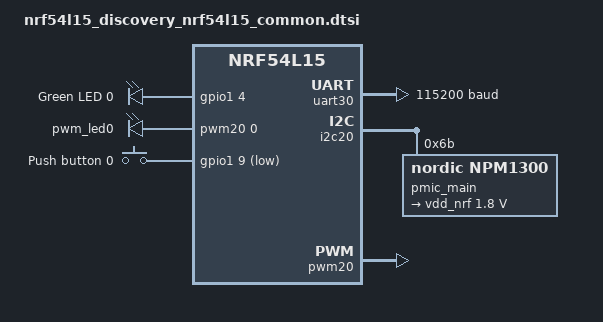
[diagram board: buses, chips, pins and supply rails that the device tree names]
/*
 * Copyright (c) 2026 Icy Electronics
 *
 * SPDX-License-Identifier: Apache-2.0
 */

#include "nrf54l15_discovery_nrf54l15-pinctrl.dtsi"
#include <zephyr/dt-bindings/regulator/npm13xx.h>

/ {
	leds {
		compatible = "gpio-leds";
		led0: led_0 {
			gpios = <&gpio1 4 GPIO_ACTIVE_HIGH>;
			label = "Green LED 0";
		};
	};

	pwmleds {
		compatible = "pwm-leds";

		/*
		 * PWM signal can be exposed on GPIO pin only within same domain.
		 * There is only one domain which contains both PWM and GPIO:
		 * PWM20/21/22 and GPIO Port P1.
		 */
		pwm_led0: pwm_led_0 {
			pwms = <&pwm20 0 PWM_MSEC(20) PWM_POLARITY_NORMAL>;
		};
	};

	buttons {
		compatible = "gpio-keys";
		button0: button_0 {
			gpios = <&gpio1 9 (GPIO_PULL_UP | GPIO_ACTIVE_LOW)>;
			label = "Push button 0";
			zephyr,code = <INPUT_KEY_0>;
		};
	};

	aliases {
		led0 = &led0;
		pwm-led0 = &pwm_led0;
		sw0 = &button0;
		watchdog0 = &wdt31;
		i2c-controller = &i2c20;
		battery = &npm1300_charger;
	};
};

&uart30 {
	current-speed = <115200>;
	pinctrl-0 = <&uart30_default>;
	pinctrl-1 = <&uart30_sleep>;
	pinctrl-names = "default", "sleep";
};

&i2c20 {
	pinctrl-0 = <&i2c20_default>;
	pinctrl-1 = <&i2c20_sleep>;
	pinctrl-names = "default", "sleep";
	zephyr,concat-buf-size = <256>;
	status = "okay";

	pmic_main: npm1300@6b {
		compatible = "nordic,npm1300";
		status = "okay";
		reg = <0x6b>;

		regulators {
			compatible = "nordic,npm1300-regulator";
			status = "okay";

			vdd_nrf: BUCK1 {
				regulator-min-microvolt = <1800000>;
				regulator-max-microvolt = <1800000>;
				regulator-always-on;
			};

			ldo2_3v3: LDO2 {
				regulator-initial-mode = <NPM13XX_LDSW_MODE_LDO>;
				regulator-allowed-modes = <NPM13XX_LDSW_MODE_LDO>;
				regulator-init-microvolt = <3300000>;
				regulator-boot-on;
			};
		};

		npm1300_charger: charger {
			compatible = "nordic,npm1300-charger";
			status = "okay";
			vbus-limit-microamp = <500000>;
			term-microvolt = <4150000>;
			current-microamp = <150000>;
			dischg-limit-microamp = <1000000>;
			term-warm-microvolt = <4000000>;
			thermistor-ohms = <10000>;
			thermistor-beta = <3380>;
			charging-enable;
		};
	};
};

&pwm20 {
	status = "okay";
	pinctrl-0 = <&pwm20_default>;
	pinctrl-1 = <&pwm20_sleep>;
	pinctrl-names = "default", "sleep";
};
